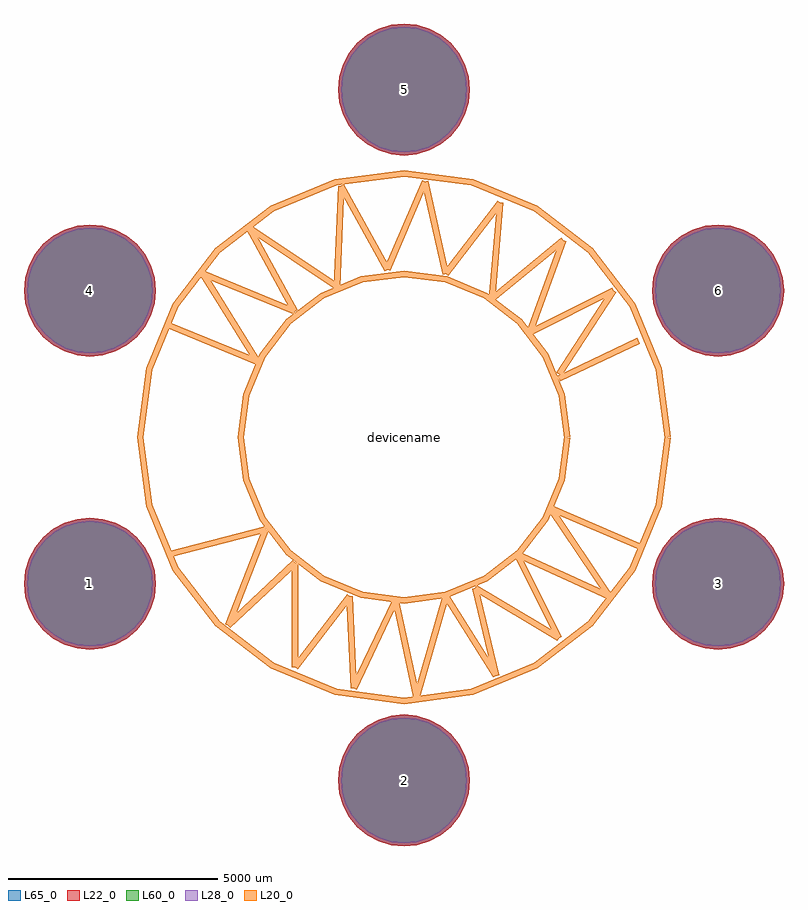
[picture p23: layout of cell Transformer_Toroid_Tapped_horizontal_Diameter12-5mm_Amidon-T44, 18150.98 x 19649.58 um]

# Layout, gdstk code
import gdstk
lib = gdstk.Library(unit=1e-6, precision=1e-09)
def P(c, l, *ps):  # polygons
    for p in ps: c.add(gdstk.Polygon(p, *l))
L20_0 = (20, 0)
L22_0 = (22, 0)
L28_0 = (28, 0)
L60_0 = (60, 0)
L65_0 = (65, 0)

transformer_toroid_tappe = lib.new_cell('Transformer_Toroid_Tapped_horizontal_Diameter12-5mm_Amidon-T44')
P(transformer_toroid_tappe, L22_0, [(1574.87,8300.72),(1544.609,8607.962),(1454.99,8903.397),(1309.457,9175.671),(1113.601,9414.321),(874.951,9610.177),(602.677,9755.71),(307.242,9845.329),(0,9875.59),(-307.242,9845.329),(-602.677,9755.71),(-874.951,9610.177),(-1113.601,9414.321),(-1309.457,9175.671),(-1454.99,8903.397),(-1544.609,8607.962),(-1574.87,8300.72),(-1544.609,7993.478),(-1454.99,7698.043),(-1309.457,7425.769),(-1113.601,7187.119),(-874.951,6991.263),(-602.677,6845.73),(-307.242,6756.111),(0,6725.85),(307.242,6756.111),(602.677,6845.73),(874.951,6991.263),(1113.601,7187.119),(1309.457,7425.769),(1454.99,7698.043),(1544.609,7993.478)],
  [(1574.87,-8199.12),(1544.609,-7891.878),(1454.99,-7596.443),(1309.457,-7324.169),(1113.601,-7085.519),(874.951,-6889.663),(602.677,-6744.13),(307.242,-6654.511),(0,-6624.25),(-307.242,-6654.511),(-602.677,-6744.13),(-874.951,-6889.663),(-1113.601,-7085.519),(-1309.457,-7324.169),(-1454.99,-7596.443),(-1544.609,-7891.878),(-1574.87,-8199.12),(-1544.609,-8506.362),(-1454.99,-8801.797),(-1309.457,-9074.071),(-1113.601,-9312.721),(-874.951,-9508.577),(-602.677,-9654.11),(-307.242,-9743.729),(0,-9773.99),(307.242,-9743.729),(602.677,-9654.11),(874.951,-9508.577),(1113.601,-9312.721),(1309.457,-9074.071),(1454.99,-8801.797),(1544.609,-8506.362)],
  [(9075.49,3500.12),(9045.229,3807.362),(8955.61,4102.797),(8810.077,4375.071),(8614.221,4613.721),(8375.571,4809.577),(8103.297,4955.11),(7807.862,5044.729),(7500.62,5074.99),(7193.378,5044.729),(6897.943,4955.11),(6625.669,4809.577),(6387.019,4613.721),(6191.163,4375.071),(6045.63,4102.797),(5956.011,3807.362),(5925.75,3500.12),(5956.011,3192.878),(6045.63,2897.443),(6191.163,2625.169),(6387.019,2386.519),(6625.669,2190.663),(6897.943,2045.13),(7193.378,1955.511),(7500.62,1925.25),(7807.862,1955.511),(8103.297,2045.13),(8375.571,2190.663),(8614.221,2386.519),(8810.077,2625.169),(8955.61,2897.443),(9045.229,3192.878)],
  [(-5925.75,3500.12),(-5956.011,3807.362),(-6045.63,4102.797),(-6191.163,4375.071),(-6387.019,4613.721),(-6625.669,4809.577),(-6897.943,4955.11),(-7193.378,5044.729),(-7500.62,5074.99),(-7807.862,5044.729),(-8103.297,4955.11),(-8375.571,4809.577),(-8614.221,4613.721),(-8810.077,4375.071),(-8955.61,4102.797),(-9045.229,3807.362),(-9075.49,3500.12),(-9045.229,3192.878),(-8955.61,2897.443),(-8810.077,2625.169),(-8614.221,2386.519),(-8375.571,2190.663),(-8103.297,2045.13),(-7807.862,1955.511),(-7500.62,1925.25),(-7193.378,1955.511),(-6897.943,2045.13),(-6625.669,2190.663),(-6387.019,2386.519),(-6191.163,2625.169),(-6045.63,2897.443),(-5956.011,3192.878)],
  [(9075.49,-3500.12),(9045.229,-3192.878),(8955.61,-2897.443),(8810.077,-2625.169),(8614.221,-2386.519),(8375.571,-2190.663),(8103.297,-2045.13),(7807.862,-1955.511),(7500.62,-1925.25),(7193.378,-1955.511),(6897.943,-2045.13),(6625.669,-2190.663),(6387.019,-2386.519),(6191.163,-2625.169),(6045.63,-2897.443),(5956.011,-3192.878),(5925.75,-3500.12),(5956.011,-3807.362),(6045.63,-4102.797),(6191.163,-4375.071),(6387.019,-4613.721),(6625.669,-4809.577),(6897.943,-4955.11),(7193.378,-5044.729),(7500.62,-5074.99),(7807.862,-5044.729),(8103.297,-4955.11),(8375.571,-4809.577),(8614.221,-4613.721),(8810.077,-4375.071),(8955.61,-4102.797),(9045.229,-3807.362)],
  [(-5925.75,-3500.12),(-5956.011,-3192.878),(-6045.63,-2897.443),(-6191.163,-2625.169),(-6387.019,-2386.519),(-6625.669,-2190.663),(-6897.943,-2045.13),(-7193.378,-1955.511),(-7500.62,-1925.25),(-7807.862,-1955.511),(-8103.297,-2045.13),(-8375.571,-2190.663),(-8614.221,-2386.519),(-8810.077,-2625.169),(-8955.61,-2897.443),(-9045.229,-3192.878),(-9075.49,-3500.12),(-9045.229,-3807.362),(-8955.61,-4102.797),(-8810.077,-4375.071),(-8614.221,-4613.721),(-8375.571,-4809.577),(-8103.297,-4955.11),(-7807.862,-5044.729),(-7500.62,-5074.99),(-7193.378,-5044.729),(-6897.943,-4955.11),(-6625.669,-4809.577),(-6387.019,-4613.721),(-6191.163,-4375.071),(-6045.63,-4102.797),(-5956.011,-3807.362)])
P(transformer_toroid_tappe, L28_0, [(1499.87,8300.72),(1471.05,8593.33),(1385.699,8874.695),(1247.096,9134.003),(1060.568,9361.288),(833.283,9547.816),(573.975,9686.419),(292.61,9771.77),(0,9800.59),(-292.61,9771.77),(-573.975,9686.419),(-833.283,9547.816),(-1060.568,9361.288),(-1247.096,9134.003),(-1385.699,8874.695),(-1471.05,8593.33),(-1499.87,8300.72),(-1471.05,8008.11),(-1385.699,7726.745),(-1247.096,7467.437),(-1060.568,7240.152),(-833.283,7053.624),(-573.975,6915.021),(-292.61,6829.67),(0,6800.85),(292.61,6829.67),(573.975,6915.021),(833.283,7053.624),(1060.568,7240.152),(1247.096,7467.437),(1385.699,7726.745),(1471.05,8008.11)],
  [(1499.87,-8199.12),(1471.05,-7906.51),(1385.699,-7625.145),(1247.096,-7365.837),(1060.568,-7138.552),(833.283,-6952.024),(573.975,-6813.421),(292.61,-6728.07),(0,-6699.25),(-292.61,-6728.07),(-573.975,-6813.421),(-833.283,-6952.024),(-1060.568,-7138.552),(-1247.096,-7365.837),(-1385.699,-7625.145),(-1471.05,-7906.51),(-1499.87,-8199.12),(-1471.05,-8491.73),(-1385.699,-8773.095),(-1247.096,-9032.403),(-1060.568,-9259.688),(-833.283,-9446.216),(-573.975,-9584.819),(-292.61,-9670.17),(0,-9698.99),(292.61,-9670.17),(573.975,-9584.819),(833.283,-9446.216),(1060.568,-9259.688),(1247.096,-9032.403),(1385.699,-8773.095),(1471.05,-8491.73)],
  [(9000.49,3500.12),(8971.67,3792.73),(8886.319,4074.095),(8747.716,4333.403),(8561.188,4560.688),(8333.903,4747.216),(8074.595,4885.819),(7793.23,4971.17),(7500.62,4999.99),(7208.01,4971.17),(6926.645,4885.819),(6667.337,4747.216),(6440.052,4560.688),(6253.524,4333.403),(6114.921,4074.095),(6029.57,3792.73),(6000.75,3500.12),(6029.57,3207.51),(6114.921,2926.145),(6253.524,2666.837),(6440.052,2439.552),(6667.337,2253.024),(6926.645,2114.421),(7208.01,2029.07),(7500.62,2000.25),(7793.23,2029.07),(8074.595,2114.421),(8333.903,2253.024),(8561.188,2439.552),(8747.716,2666.837),(8886.319,2926.145),(8971.67,3207.51)],
  [(-6000.75,3500.12),(-6029.57,3792.73),(-6114.921,4074.095),(-6253.524,4333.403),(-6440.052,4560.688),(-6667.337,4747.216),(-6926.645,4885.819),(-7208.01,4971.17),(-7500.62,4999.99),(-7793.23,4971.17),(-8074.595,4885.819),(-8333.903,4747.216),(-8561.188,4560.688),(-8747.716,4333.403),(-8886.319,4074.095),(-8971.67,3792.73),(-9000.49,3500.12),(-8971.67,3207.51),(-8886.319,2926.145),(-8747.716,2666.837),(-8561.188,2439.552),(-8333.903,2253.024),(-8074.595,2114.421),(-7793.23,2029.07),(-7500.62,2000.25),(-7208.01,2029.07),(-6926.645,2114.421),(-6667.337,2253.024),(-6440.052,2439.552),(-6253.524,2666.837),(-6114.921,2926.145),(-6029.57,3207.51)],
  [(9000.49,-3500.12),(8971.67,-3207.51),(8886.319,-2926.145),(8747.716,-2666.837),(8561.188,-2439.552),(8333.903,-2253.024),(8074.595,-2114.421),(7793.23,-2029.07),(7500.62,-2000.25),(7208.01,-2029.07),(6926.645,-2114.421),(6667.337,-2253.024),(6440.052,-2439.552),(6253.524,-2666.837),(6114.921,-2926.145),(6029.57,-3207.51),(6000.75,-3500.12),(6029.57,-3792.73),(6114.921,-4074.095),(6253.524,-4333.403),(6440.052,-4560.688),(6667.337,-4747.216),(6926.645,-4885.819),(7208.01,-4971.17),(7500.62,-4999.99),(7793.23,-4971.17),(8074.595,-4885.819),(8333.903,-4747.216),(8561.188,-4560.688),(8747.716,-4333.403),(8886.319,-4074.095),(8971.67,-3792.73)],
  [(-6000.75,-3500.12),(-6029.57,-3207.51),(-6114.921,-2926.145),(-6253.524,-2666.837),(-6440.052,-2439.552),(-6667.337,-2253.024),(-6926.645,-2114.421),(-7208.01,-2029.07),(-7500.62,-2000.25),(-7793.23,-2029.07),(-8074.595,-2114.421),(-8333.903,-2253.024),(-8561.188,-2439.552),(-8747.716,-2666.837),(-8886.319,-2926.145),(-8971.67,-3207.51),(-9000.49,-3500.12),(-8971.67,-3792.73),(-8886.319,-4074.095),(-8747.716,-4333.403),(-8561.188,-4560.688),(-8333.903,-4747.216),(-8074.595,-4885.819),(-7793.23,-4971.17),(-7500.62,-4999.99),(-7208.01,-4971.17),(-6926.645,-4885.819),(-6667.337,-4747.216),(-6440.052,-4560.688),(-6253.524,-4333.403),(-6114.921,-4074.095),(-6029.57,-3792.73)])
P(transformer_toroid_tappe, L60_0, [(1499.87,8300.72),(1471.05,8593.33),(1385.699,8874.695),(1247.096,9134.003),(1060.568,9361.288),(833.283,9547.816),(573.975,9686.419),(292.61,9771.77),(0,9800.59),(-292.61,9771.77),(-573.975,9686.419),(-833.283,9547.816),(-1060.568,9361.288),(-1247.096,9134.003),(-1385.699,8874.695),(-1471.05,8593.33),(-1499.87,8300.72),(-1471.05,8008.11),(-1385.699,7726.745),(-1247.096,7467.437),(-1060.568,7240.152),(-833.283,7053.624),(-573.975,6915.021),(-292.61,6829.67),(0,6800.85),(292.61,6829.67),(573.975,6915.021),(833.283,7053.624),(1060.568,7240.152),(1247.096,7467.437),(1385.699,7726.745),(1471.05,8008.11)],
  [(1499.87,-8199.12),(1471.05,-7906.51),(1385.699,-7625.145),(1247.096,-7365.837),(1060.568,-7138.552),(833.283,-6952.024),(573.975,-6813.421),(292.61,-6728.07),(0,-6699.25),(-292.61,-6728.07),(-573.975,-6813.421),(-833.283,-6952.024),(-1060.568,-7138.552),(-1247.096,-7365.837),(-1385.699,-7625.145),(-1471.05,-7906.51),(-1499.87,-8199.12),(-1471.05,-8491.73),(-1385.699,-8773.095),(-1247.096,-9032.403),(-1060.568,-9259.688),(-833.283,-9446.216),(-573.975,-9584.819),(-292.61,-9670.17),(0,-9698.99),(292.61,-9670.17),(573.975,-9584.819),(833.283,-9446.216),(1060.568,-9259.688),(1247.096,-9032.403),(1385.699,-8773.095),(1471.05,-8491.73)],
  [(9000.49,3500.12),(8971.67,3792.73),(8886.319,4074.095),(8747.716,4333.403),(8561.188,4560.688),(8333.903,4747.216),(8074.595,4885.819),(7793.23,4971.17),(7500.62,4999.99),(7208.01,4971.17),(6926.645,4885.819),(6667.337,4747.216),(6440.052,4560.688),(6253.524,4333.403),(6114.921,4074.095),(6029.57,3792.73),(6000.75,3500.12),(6029.57,3207.51),(6114.921,2926.145),(6253.524,2666.837),(6440.052,2439.552),(6667.337,2253.024),(6926.645,2114.421),(7208.01,2029.07),(7500.62,2000.25),(7793.23,2029.07),(8074.595,2114.421),(8333.903,2253.024),(8561.188,2439.552),(8747.716,2666.837),(8886.319,2926.145),(8971.67,3207.51)],
  [(-6000.75,3500.12),(-6029.57,3792.73),(-6114.921,4074.095),(-6253.524,4333.403),(-6440.052,4560.688),(-6667.337,4747.216),(-6926.645,4885.819),(-7208.01,4971.17),(-7500.62,4999.99),(-7793.23,4971.17),(-8074.595,4885.819),(-8333.903,4747.216),(-8561.188,4560.688),(-8747.716,4333.403),(-8886.319,4074.095),(-8971.67,3792.73),(-9000.49,3500.12),(-8971.67,3207.51),(-8886.319,2926.145),(-8747.716,2666.837),(-8561.188,2439.552),(-8333.903,2253.024),(-8074.595,2114.421),(-7793.23,2029.07),(-7500.62,2000.25),(-7208.01,2029.07),(-6926.645,2114.421),(-6667.337,2253.024),(-6440.052,2439.552),(-6253.524,2666.837),(-6114.921,2926.145),(-6029.57,3207.51)],
  [(9000.49,-3500.12),(8971.67,-3207.51),(8886.319,-2926.145),(8747.716,-2666.837),(8561.188,-2439.552),(8333.903,-2253.024),(8074.595,-2114.421),(7793.23,-2029.07),(7500.62,-2000.25),(7208.01,-2029.07),(6926.645,-2114.421),(6667.337,-2253.024),(6440.052,-2439.552),(6253.524,-2666.837),(6114.921,-2926.145),(6029.57,-3207.51),(6000.75,-3500.12),(6029.57,-3792.73),(6114.921,-4074.095),(6253.524,-4333.403),(6440.052,-4560.688),(6667.337,-4747.216),(6926.645,-4885.819),(7208.01,-4971.17),(7500.62,-4999.99),(7793.23,-4971.17),(8074.595,-4885.819),(8333.903,-4747.216),(8561.188,-4560.688),(8747.716,-4333.403),(8886.319,-4074.095),(8971.67,-3792.73)],
  [(-6000.75,-3500.12),(-6029.57,-3207.51),(-6114.921,-2926.145),(-6253.524,-2666.837),(-6440.052,-2439.552),(-6667.337,-2253.024),(-6926.645,-2114.421),(-7208.01,-2029.07),(-7500.62,-2000.25),(-7793.23,-2029.07),(-8074.595,-2114.421),(-8333.903,-2253.024),(-8561.188,-2439.552),(-8747.716,-2666.837),(-8886.319,-2926.145),(-8971.67,-3207.51),(-9000.49,-3500.12),(-8971.67,-3792.73),(-8886.319,-4074.095),(-8747.716,-4333.403),(-8561.188,-4560.688),(-8333.903,-4747.216),(-8074.595,-4885.819),(-7793.23,-4971.17),(-7500.62,-4999.99),(-7208.01,-4971.17),(-6926.645,-4885.819),(-6667.337,-4747.216),(-6440.052,-4560.688),(-6253.524,-4333.403),(-6114.921,-4074.095),(-6029.57,-3792.73)])
P(transformer_toroid_tappe, L65_0, [(1574.87,8300.72),(1544.609,8607.962),(1454.99,8903.397),(1309.457,9175.671),(1113.601,9414.321),(874.951,9610.177),(602.677,9755.71),(307.242,9845.329),(0,9875.59),(-307.242,9845.329),(-602.677,9755.71),(-874.951,9610.177),(-1113.601,9414.321),(-1309.457,9175.671),(-1454.99,8903.397),(-1544.609,8607.962),(-1574.87,8300.72),(-1544.609,7993.478),(-1454.99,7698.043),(-1309.457,7425.769),(-1113.601,7187.119),(-874.951,6991.263),(-602.677,6845.73),(-307.242,6756.111),(0,6725.85),(307.242,6756.111),(602.677,6845.73),(874.951,6991.263),(1113.601,7187.119),(1309.457,7425.769),(1454.99,7698.043),(1544.609,7993.478)],
  [(1574.87,-8199.12),(1544.609,-7891.878),(1454.99,-7596.443),(1309.457,-7324.169),(1113.601,-7085.519),(874.951,-6889.663),(602.677,-6744.13),(307.242,-6654.511),(0,-6624.25),(-307.242,-6654.511),(-602.677,-6744.13),(-874.951,-6889.663),(-1113.601,-7085.519),(-1309.457,-7324.169),(-1454.99,-7596.443),(-1544.609,-7891.878),(-1574.87,-8199.12),(-1544.609,-8506.362),(-1454.99,-8801.797),(-1309.457,-9074.071),(-1113.601,-9312.721),(-874.951,-9508.577),(-602.677,-9654.11),(-307.242,-9743.729),(0,-9773.99),(307.242,-9743.729),(602.677,-9654.11),(874.951,-9508.577),(1113.601,-9312.721),(1309.457,-9074.071),(1454.99,-8801.797),(1544.609,-8506.362)],
  [(9075.49,3500.12),(9045.229,3807.362),(8955.61,4102.797),(8810.077,4375.071),(8614.221,4613.721),(8375.571,4809.577),(8103.297,4955.11),(7807.862,5044.729),(7500.62,5074.99),(7193.378,5044.729),(6897.943,4955.11),(6625.669,4809.577),(6387.019,4613.721),(6191.163,4375.071),(6045.63,4102.797),(5956.011,3807.362),(5925.75,3500.12),(5956.011,3192.878),(6045.63,2897.443),(6191.163,2625.169),(6387.019,2386.519),(6625.669,2190.663),(6897.943,2045.13),(7193.378,1955.511),(7500.62,1925.25),(7807.862,1955.511),(8103.297,2045.13),(8375.571,2190.663),(8614.221,2386.519),(8810.077,2625.169),(8955.61,2897.443),(9045.229,3192.878)],
  [(-5925.75,3500.12),(-5956.011,3807.362),(-6045.63,4102.797),(-6191.163,4375.071),(-6387.019,4613.721),(-6625.669,4809.577),(-6897.943,4955.11),(-7193.378,5044.729),(-7500.62,5074.99),(-7807.862,5044.729),(-8103.297,4955.11),(-8375.571,4809.577),(-8614.221,4613.721),(-8810.077,4375.071),(-8955.61,4102.797),(-9045.229,3807.362),(-9075.49,3500.12),(-9045.229,3192.878),(-8955.61,2897.443),(-8810.077,2625.169),(-8614.221,2386.519),(-8375.571,2190.663),(-8103.297,2045.13),(-7807.862,1955.511),(-7500.62,1925.25),(-7193.378,1955.511),(-6897.943,2045.13),(-6625.669,2190.663),(-6387.019,2386.519),(-6191.163,2625.169),(-6045.63,2897.443),(-5956.011,3192.878)],
  [(9075.49,-3500.12),(9045.229,-3192.878),(8955.61,-2897.443),(8810.077,-2625.169),(8614.221,-2386.519),(8375.571,-2190.663),(8103.297,-2045.13),(7807.862,-1955.511),(7500.62,-1925.25),(7193.378,-1955.511),(6897.943,-2045.13),(6625.669,-2190.663),(6387.019,-2386.519),(6191.163,-2625.169),(6045.63,-2897.443),(5956.011,-3192.878),(5925.75,-3500.12),(5956.011,-3807.362),(6045.63,-4102.797),(6191.163,-4375.071),(6387.019,-4613.721),(6625.669,-4809.577),(6897.943,-4955.11),(7193.378,-5044.729),(7500.62,-5074.99),(7807.862,-5044.729),(8103.297,-4955.11),(8375.571,-4809.577),(8614.221,-4613.721),(8810.077,-4375.071),(8955.61,-4102.797),(9045.229,-3807.362)],
  [(-5925.75,-3500.12),(-5956.011,-3192.878),(-6045.63,-2897.443),(-6191.163,-2625.169),(-6387.019,-2386.519),(-6625.669,-2190.663),(-6897.943,-2045.13),(-7193.378,-1955.511),(-7500.62,-1925.25),(-7807.862,-1955.511),(-8103.297,-2045.13),(-8375.571,-2190.663),(-8614.221,-2386.519),(-8810.077,-2625.169),(-8955.61,-2897.443),(-9045.229,-3192.878),(-9075.49,-3500.12),(-9045.229,-3807.362),(-8955.61,-4102.797),(-8810.077,-4375.071),(-8614.221,-4613.721),(-8375.571,-4809.577),(-8103.297,-4955.11),(-7807.862,-5044.729),(-7500.62,-5074.99),(-7193.378,-5044.729),(-6897.943,-4955.11),(-6625.669,-4809.577),(-6387.019,-4613.721),(-6191.163,-4375.071),(-6045.63,-4102.797),(-5956.011,-3807.362)])
transformer_toroid_tappe.add(gdstk.FlexPath([(6299.2,0),(6084.56,1630.353),(5455.267,3149.6),(4454.207,4454.207),(3149.6,5455.267),(1630.353,6084.56),(0,6299.2),(-1630.353,6084.56),(-3149.6,5455.267),(-4454.207,4454.207),(-5455.267,3149.6),(-6084.56,1630.353),(-6299.2,0),(-6084.56,-1630.353),(-5455.267,-3149.6),(-4454.207,-4454.207),(-3149.6,-5455.267),(-1630.353,-6084.56),(0,-6299.2),(1630.353,-6084.56),(3149.6,-5455.267),(4454.207,-4454.207),(5455.267,-3149.6),(6084.56,-1630.353),(6299.2,0)], 149.998, ends="flush", simple_path=True, layer=20, datatype=0))  # L20_0
transformer_toroid_tappe.add(gdstk.FlexPath([(3898.9,0),(3766.048,1009.11),(3376.546,1949.45),(2756.939,2756.939),(1949.45,3376.546),(1009.11,3766.048),(0,3898.9),(-1009.11,3766.048),(-1949.45,3376.546),(-2756.939,2756.939),(-3376.546,1949.45),(-3766.048,1009.11),(-3898.9,0),(-3766.048,-1009.11),(-3376.546,-1949.45),(-2756.939,-2756.939),(-1949.45,-3376.546),(-1009.11,-3766.048),(0,-3898.9),(1009.11,-3766.048),(1949.45,-3376.546),(2756.939,-2756.939),(3376.546,-1949.45),(3766.048,-1009.11),(3898.9,0)], 149.998, ends="flush", simple_path=True, layer=20, datatype=0))  # L20_0
transformer_toroid_tappe.add(gdstk.FlexPath([(3500.12,-1699.26),(5600.7,-2600.96)], 149.998, ends="flush", simple_path=True, layer=20, datatype=0))  # L20_0
transformer_toroid_tappe.add(gdstk.FlexPath([(4899.66,-3799.84),(3500.12,-1699.26)], 149.998, ends="flush", simple_path=True, layer=20, datatype=0))  # L20_0
transformer_toroid_tappe.add(gdstk.FlexPath([(2700.02,-2799.08),(4899.66,-3799.84)], 149.998, ends="flush", simple_path=True, layer=20, datatype=0))  # L20_0
transformer_toroid_tappe.add(gdstk.FlexPath([(3700.78,-4800.6),(2700.02,-2799.08)], 149.998, ends="flush", simple_path=True, layer=20, datatype=0))  # L20_0
transformer_toroid_tappe.add(gdstk.FlexPath([(1699.26,-3599.18),(3700.78,-4800.6)], 149.998, ends="flush", simple_path=True, layer=20, datatype=0))  # L20_0
transformer_toroid_tappe.add(gdstk.FlexPath([(2199.64,-5699.76),(1699.26,-3599.18)], 149.998, ends="flush", simple_path=True, layer=20, datatype=0))  # L20_0
transformer_toroid_tappe.add(gdstk.FlexPath([(1000.76,-3799.84),(2199.64,-5699.76)], 149.998, ends="flush", simple_path=True, layer=20, datatype=0))  # L20_0
transformer_toroid_tappe.add(gdstk.FlexPath([(299.72,-6200.14),(1000.76,-3799.84)], 149.998, ends="flush", simple_path=True, layer=20, datatype=0))  # L20_0
transformer_toroid_tappe.add(gdstk.FlexPath([(-200.66,-3898.9),(299.72,-6200.14)], 149.998, ends="flush", simple_path=True, layer=20, datatype=0))  # L20_0
transformer_toroid_tappe.add(gdstk.FlexPath([(-1198.88,-5999.48),(-200.66,-3898.9)], 149.998, ends="flush", simple_path=True, layer=20, datatype=0))  # L20_0
transformer_toroid_tappe.add(gdstk.FlexPath([(-1300.48,-3799.84),(-1198.88,-5999.48)], 149.998, ends="flush", simple_path=True, layer=20, datatype=0))  # L20_0
transformer_toroid_tappe.add(gdstk.FlexPath([(-2600.96,-5499.1),(-1300.48,-3799.84)], 149.998, ends="flush", simple_path=True, layer=20, datatype=0))  # L20_0
transformer_toroid_tappe.add(gdstk.FlexPath([(-2600.96,-2999.74),(-2600.96,-5499.1)], 149.998, ends="flush", simple_path=True, layer=20, datatype=0))  # L20_0
transformer_toroid_tappe.add(gdstk.FlexPath([(-4201.16,-4500.88),(-2600.96,-2999.74)], 149.998, ends="flush", simple_path=True, layer=20, datatype=0))  # L20_0
transformer_toroid_tappe.add(gdstk.FlexPath([(-3299.46,-2199.64),(-4201.16,-4500.88)], 149.998, ends="flush", simple_path=True, layer=20, datatype=0))  # L20_0
transformer_toroid_tappe.add(gdstk.FlexPath([(-5600.7,-2799.08),(-3299.46,-2199.64)], 149.998, ends="flush", simple_path=True, layer=20, datatype=0))  # L20_0
transformer_toroid_tappe.add(gdstk.FlexPath([(5001.26,3500.12),(3700.78,1501.14)], 149.998, ends="flush", simple_path=True, layer=20, datatype=0))  # L20_0
transformer_toroid_tappe.add(gdstk.FlexPath([(2999.74,2499.36),(5001.26,3500.12)], 149.998, ends="flush", simple_path=True, layer=20, datatype=0))  # L20_0
transformer_toroid_tappe.add(gdstk.FlexPath([(3799.84,4699),(2999.74,2499.36)], 149.998, ends="flush", simple_path=True, layer=20, datatype=0))  # L20_0
transformer_toroid_tappe.add(gdstk.FlexPath([(2100.58,3299.46),(3799.84,4699)], 149.998, ends="flush", simple_path=True, layer=20, datatype=0))  # L20_0
transformer_toroid_tappe.add(gdstk.FlexPath([(2301.24,5600.7),(2100.58,3299.46)], 149.998, ends="flush", simple_path=True, layer=20, datatype=0))  # L20_0
transformer_toroid_tappe.add(gdstk.FlexPath([(1000.76,3898.9),(2301.24,5600.7)], 149.998, ends="flush", simple_path=True, layer=20, datatype=0))  # L20_0
transformer_toroid_tappe.add(gdstk.FlexPath([(500.38,6101.08),(1000.76,3898.9)], 149.998, ends="flush", simple_path=True, layer=20, datatype=0))  # L20_0
transformer_toroid_tappe.add(gdstk.FlexPath([(-398.78,4000.5),(500.38,6101.08)], 149.998, ends="flush", simple_path=True, layer=20, datatype=0))  # L20_0
transformer_toroid_tappe.add(gdstk.FlexPath([(-1501.14,5999.48),(-398.78,4000.5)], 149.998, ends="flush", simple_path=True, layer=20, datatype=0))  # L20_0
transformer_toroid_tappe.add(gdstk.FlexPath([(-1600.2,3599.18),(-1501.14,5999.48)], 149.998, ends="flush", simple_path=True, layer=20, datatype=0))  # L20_0
transformer_toroid_tappe.add(gdstk.FlexPath([(-3700.78,5001.26),(-1600.2,3599.18)], 149.998, ends="flush", simple_path=True, layer=20, datatype=0))  # L20_0
transformer_toroid_tappe.add(gdstk.FlexPath([(-2600.96,2999.74),(-3700.78,5001.26)], 149.998, ends="flush", simple_path=True, layer=20, datatype=0))  # L20_0
transformer_toroid_tappe.add(gdstk.FlexPath([(-4800.6,3898.9),(-2600.96,2999.74)], 149.998, ends="flush", simple_path=True, layer=20, datatype=0))  # L20_0
transformer_toroid_tappe.add(gdstk.FlexPath([(-3500.12,1800.86),(-4800.6,3898.9)], 149.998, ends="flush", simple_path=True, layer=20, datatype=0))  # L20_0
transformer_toroid_tappe.add(gdstk.FlexPath([(-5699.76,2700.02),(-3500.12,1800.86)], 149.998, ends="flush", simple_path=True, layer=20, datatype=0))  # L20_0
transformer_toroid_tappe.add(gdstk.FlexPath([(3700.78,1399.54),(5600.7,2301.24)], 149.998, ends="flush", simple_path=True, layer=20, datatype=0))  # L20_0
transformer_toroid_tappe.add(gdstk.Label('5', (0,8300.72), layer=28, texttype=0))
transformer_toroid_tappe.add(gdstk.Label('2', (0,-8199.12), layer=28, texttype=0))
transformer_toroid_tappe.add(gdstk.Label('6', (7500.62,3500.12), layer=28, texttype=0))
transformer_toroid_tappe.add(gdstk.Label('4', (-7500.62,3500.12), layer=28, texttype=0))
transformer_toroid_tappe.add(gdstk.Label('3', (7500.62,-3500.12), layer=28, texttype=0))
transformer_toroid_tappe.add(gdstk.Label('1', (-7500.62,-3500.12), layer=28, texttype=0))
transformer_toroid_tappe.add(gdstk.Label('type', (5080,-12700), layer=9, texttype=0))
transformer_toroid_tappe.add(gdstk.Label('devicename', (0,0), layer=9, texttype=0))

lib.write_gds('Transformer_Toroid_Tapped_horizontal_Diameter12-5mm_Amidon-T44.gds')
